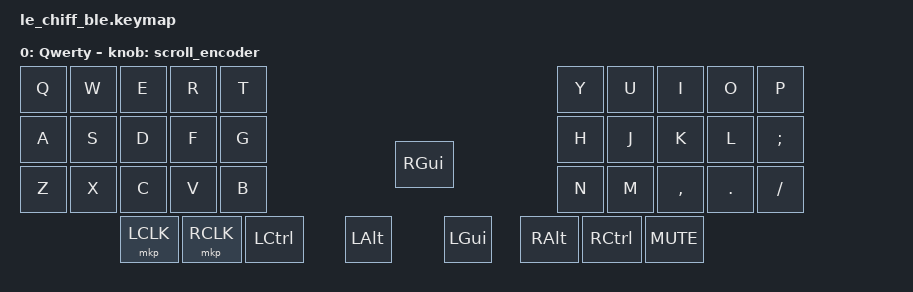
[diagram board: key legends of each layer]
/*
 * Copyright (c) 2021 @MangoIV
 *
 * SPDX-License-Identifier: MIT
 */

#define ZMK_MOUSE_DEFAULT_SCRL_VAL 35 // 10
#include <behaviors/mouse_keys.dtsi>
#include <behaviors.dtsi>
#include <dt-bindings/zmk/bt.h>
#include <dt-bindings/zmk/keys.h>
#include <dt-bindings/zmk/mouse.h>
#include <dt-bindings/zmk/outputs.h>

&msc {
    acceleration-exponent = <0>;      // 0
    time-to-max-speed-ms = <0>;       // 300
    delay-ms = <0>;                   // 0
};

&mmv {
    time-to-max-speed-ms = <400>;
    acceleration-exponent = <1>;
};


/ {
    combos {
        compatible = "zmk,combos";

        combo_esc {
            timeout-ms = <50>;
            key-positions = <0 1>;
            bindings = <&kp ESC>;
        };

        left_bkt {
            bindings = <&kp LEFT_BRACKET>;
            key-positions = <2 3>;
            timeout-ms = <50>;
        };

        right_bkt {
            bindings = <&kp RIGHT_BRACKET>;
            key-positions = <7 6>;
            timeout-ms = <50>;
        };

        left_par {
            bindings = <&kp LEFT_PARENTHESIS>;
            key-positions = <12 13>;
            timeout-ms = <50>;
        };

        right_par {
            bindings = <&kp RIGHT_PARENTHESIS>;
            key-positions = <16 17>;
            timeout-ms = <50>;
        };

        left_brace {
            bindings = <&kp LEFT_BRACE>;
            key-positions = <22 23>;
            timeout-ms = <50>;
        };

        right_brace {
            bindings = <&kp RIGHT_BRACE>;
            key-positions = <26 27>;
            timeout-ms = <50>;
        };

        bac {
            bindings = <&kp BACKSLASH>;
            key-positions = <24 25>;
            timeout-ms = <50>;
        };

        pipe {
            bindings = <&kp PIPE>;
            key-positions = <14 15>;
            timeout-ms = <50>;
        };

        plus {
            bindings = <&kp PLUS>;
            key-positions = <11 12>;
        };

        equal {
            bindings = <&kp EQUAL>;
            key-positions = <18 17>;
        };
    };

    macros {
        dongle_bootload_macro: bootload_macro {
            compatible = "zmk,behavior-macro";
            #binding-cells = <0>;
            bindings = <&bootloader>;
            label = "BOOTLOAD_MACRO";
        };
    };

    behaviors {
        hm: homerow_mods {
            compatible = "zmk,behavior-hold-tap";
            label = "HOMEROW_MODS";
            bindings = <&kp>, <&kp>;

            #binding-cells = <2>;
            tapping-term-ms = <200>;
            quick-tap-ms = <180>;
            flavor = "tap-preferred";
        };

        ltq: ltq {
            compatible = "zmk,behavior-hold-tap";
            label = "LTQ";
            bindings = <&mo>, <&kp>;

            #binding-cells = <2>;
            tapping-term-ms = <200>;
            quick-tap-ms = <180>;
        };

        as: auto_shift {
            compatible = "zmk,behavior-hold-tap";
            label = "AUTO_SHIFT";
            bindings = <&kp>, <&kp>;

            #binding-cells = <2>;
            tapping-term-ms = <135>;
            quick-tap-ms = <0>;
        };

        scroll_encoder: scroll_encoder {
            compatible = "zmk,behavior-sensor-rotate";
            #sensor-binding-cells = <0>;
            bindings = <&msc SCRL_UP>, <&msc SCRL_DOWN>;
            tap-ms = <30>;
        };
    };

    keymap {
        compatible = "zmk,keymap";

        Qwery {
            label = "Qwerty";
            bindings = <
&kp Q      &kp W      &kp E      &kp R     &kp T     &kp Y     &kp U     &kp I      &kp O       &kp P
&kp A      &kp S      &kp D      &kp F     &kp G     &kp H     &kp J     &kp K      &kp L       &kp SEMI
&kp Z      &kp X      &kp C      &kp V     &kp B     &kp N     &kp M     &kp COMMA  &kp DOT     &kp FSLH
&mkp LCLK  &mkp RCLK  &kp LCTRL  &kp LALT  &kp LGUI  &kp RGUI  &kp RALT  &kp RCTRL  &kp K_MUTE
            >;

            sensor-bindings = <&scroll_encoder>;
        };
};
